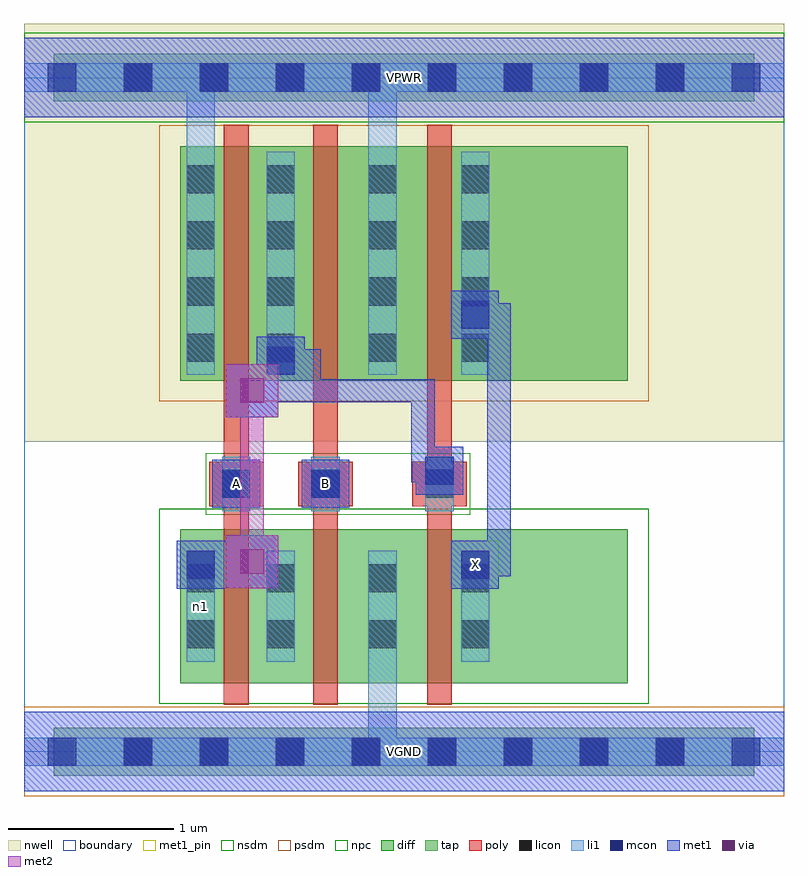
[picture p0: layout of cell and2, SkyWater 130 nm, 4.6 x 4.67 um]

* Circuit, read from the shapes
.subckt and2 A B VGND VPWR X n1
XM1 n2 A n1 VGND sky130_fd_pr__nfet_01v8 w=0.93 l=0.15
XM2 VGND B n2 VGND sky130_fd_pr__nfet_01v8 w=0.93 l=0.15
XM3 X n1 VGND VGND sky130_fd_pr__nfet_01v8 w=0.93 l=0.15
XM4 n1 A VPWR VPWR sky130_fd_pr__pfet_01v8 w=1.42 l=0.15
XM5 VPWR B n1 VPWR sky130_fd_pr__pfet_01v8 w=1.42 l=0.15
XM6 X n1 VPWR VPWR sky130_fd_pr__pfet_01v8 w=1.42 l=0.15
.ends

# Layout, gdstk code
import gdstk
lib = gdstk.Library(unit=1e-6, precision=1e-09)
def R(c, l, rs):  # rectangles x0, y0, x1, y1
    for r in rs: c.add(gdstk.rectangle(r[:2], r[2:], *l))
def A(c, l, x, y, w, h, nx, ny, dx, dy):  # array of equal rectangles
    R(c, l, [(x+i*dx, y+j*dy, x+i*dx+w, y+j*dy+h) for i in range(nx) for j in range(ny)])
nwell = (64, 20)
diff = (65, 20)
tap = (65, 44)
poly = (66, 20)
licon = (66, 44)
li1 = (67, 20)
mcon = (67, 44)
met1_pin = (68, 16)
met1 = (68, 20)
via = (68, 44)
met2 = (69, 20)
nsdm = (93, 44)
psdm = (94, 20)
npc = (95, 20)
boundary = (235, 4)

and2 = lib.new_cell('and2')
R(and2, nwell, [(0,1.875,4.6,4.405)])
R(and2, diff, [(0.945,0.415,3.655,1.345), (0.945,2.245,3.655,3.665)])
R(and2, tap, [(0.18,-0.145,4.42,0.145), (0.18,3.935,4.42,4.225)])
R(and2, poly, [(1.21,0.285,1.36,3.795), (1.75,0.285,1.9,3.795), (2.44,0.285,2.59,3.795), (1.12,1.485,1.45,1.755), (1.66,1.485,1.99,1.755), (2.35,1.485,2.68,1.755)])
A(and2, licon, 0.605, -0.085, 0.17, 0.17, 8, 2, 0.46, 4.08)
A(and2, licon, 0.985, 2.36, 0.17, 0.17, 1, 4, 0, 0.34)
A(and2, licon, 1.47, 2.36, 0.17, 0.17, 1, 4, 0, 0.34)
A(and2, licon, 2.085, 2.36, 0.17, 0.17, 1, 4, 0, 0.34)
A(and2, licon, 2.645, 2.36, 0.17, 0.17, 1, 4, 0, 0.34)
R(and2, licon, [(0.985,0.625,1.155,0.795), (1.47,0.625,1.64,0.795), (2.085,0.625,2.255,0.795), (2.645,0.625,2.815,0.795), (0.985,0.965,1.155,1.135), (1.47,0.965,1.64,1.135), (2.085,0.965,2.255,1.135), (2.645,0.965,2.815,1.135), (1.2,1.535,1.37,1.705), (1.74,1.535,1.91,1.705), (2.43,1.535,2.6,1.705)])
R(and2, li1, [(0,-0.085,4.6,0.085), (2.085,-0.085,2.255,1.215), (0.985,0.545,1.155,1.215), (1.47,0.545,1.64,1.215), (2.085,0.545,2.255,1.215), (2.645,0.545,2.815,1.215), (1.2,1.455,1.37,1.785), (1.74,1.455,1.91,1.785), (2.43,1.455,2.6,1.785), (0.985,2.28,1.155,3.63), (0.985,2.28,1.155,4.165), (1.47,2.28,1.64,3.63), (2.085,2.28,2.255,3.63), (2.085,2.28,2.255,4.165), (2.645,2.28,2.815,3.63), (0,3.995,4.6,4.165)])
A(and2, mcon, 0.145, -0.085, 0.17, 0.17, 10, 2, 0.46, 4.08)
R(and2, mcon, [(0.985,1.045,1.155,1.215), (2.645,1.045,2.815,1.215), (1.2,1.535,1.37,1.705), (1.74,1.535,1.91,1.705), (2.43,1.615,2.6,1.785), (1.47,2.28,1.64,2.45), (2.645,2.56,2.815,2.73)])
R(and2, met1_pin, [(0,-0.24,4.6,0.24), (2.585,0.985,2.875,1.275), (1.14,1.475,1.43,1.765), (1.68,1.475,1.97,1.765), (0,3.84,4.6,4.32)])
R(and2, met1, [(0,-0.24,4.6,0.24), (0.925,0.985,1.215,1.275), (2.585,0.985,2.875,1.275), (1.215,0.99,1.22,1.275), (1.22,0.99,1.54,1.31), (1,1.06,1.335,1.2), (1.195,1.06,1.335,1.22), (2.66,1.06,2.945,1.2), (2.805,1.06,2.945,1.335), (1.195,1.08,1.45,1.22), (2.805,1.195,2.945,2.715), (1.14,1.475,1.43,1.765), (1.68,1.475,1.97,1.765), (2.37,1.555,2.66,1.845), (2.345,1.63,2.585,1.77), (2.345,1.63,2.485,1.91), (2.345,1.77,2.485,2.255), (1.22,2.025,1.54,2.345), (1.31,2.115,1.795,2.255), (1.54,2.115,1.655,2.345), (1.655,2.115,1.795,2.435), (1.655,2.115,2.485,2.255), (1.41,2.22,1.7,2.51), (1.485,2.255,1.795,2.295), (1.485,2.295,1.795,2.435), (2.585,2.5,2.875,2.79), (2.66,2.575,2.945,2.715), (0,3.84,4.6,4.32)])
R(and2, via, [(1.305,1.075,1.455,1.225), (1.305,2.11,1.455,2.26)])
R(and2, met2, [(1.22,0.99,1.54,1.31), (1.31,1.08,1.45,2.255), (1.22,2.025,1.54,2.345)])
R(and2, nsdm, [(0.82,0.29,3.78,1.47), (0,3.81,4.6,4.35)])
R(and2, psdm, [(0,-0.27,4.6,0.27), (0.82,2.12,3.78,3.79)])
R(and2, npc, [(1.1,1.435,2.7,1.805)])
R(and2, boundary, [(0,0,4.6,4.08)])
and2.add(gdstk.Label('n1', (1.07,0.88), layer=67, texttype=5))
and2.add(gdstk.Label('A', (1.285,1.62), layer=68, texttype=5))
and2.add(gdstk.Label('B', (1.825,1.62), layer=68, texttype=5))
and2.add(gdstk.Label('X', (2.73,1.13), layer=68, texttype=5))
and2.add(gdstk.Label('VPWR', (2.3,4.08), layer=68, texttype=5))
and2.add(gdstk.Label('VGND', (2.3,0), layer=68, texttype=5))
and2.add(gdstk.Label('A', (1.285,1.62), layer=68, texttype=16))
and2.add(gdstk.Label('B', (1.825,1.62), layer=68, texttype=16))
and2.add(gdstk.Label('X', (2.73,1.13), layer=68, texttype=16))
and2.add(gdstk.Label('VPWR', (2.3,4.08), layer=68, texttype=16))
and2.add(gdstk.Label('VGND', (2.3,0), layer=68, texttype=16))

lib.write_gds('and2.gds')
